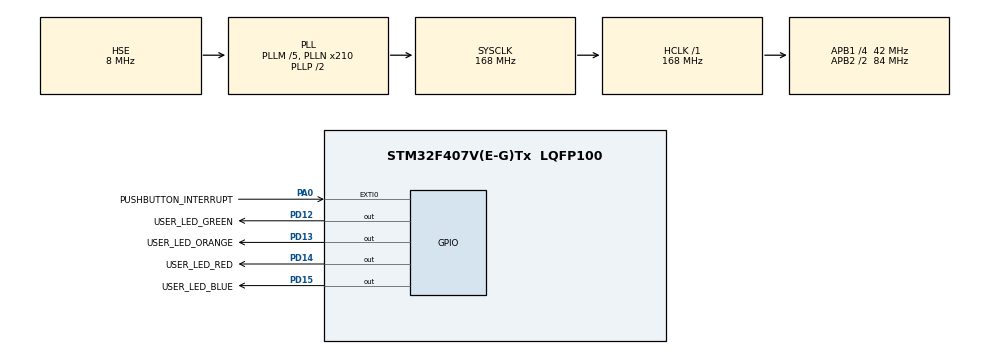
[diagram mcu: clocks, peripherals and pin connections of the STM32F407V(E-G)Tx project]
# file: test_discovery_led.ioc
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Mcu.Family=STM32F4
Mcu.Name=STM32F407V(E-G)Tx
Mcu.Package=LQFP100
NVIC.EXTI0_IRQn=true\:1\:0\:true\:true\:true\:1
NVIC.PriorityGroup=NVIC_PRIORITYGROUP_4
NVIC.TIM8_TRG_COM_TIM14_IRQn=true\:0\:0\:false\:false\:true
PA0-WKUP.GPIO_Label=PUSHBUTTON_INTERRUPT
PA0-WKUP.Signal=GPXTI0
PA13.Mode=Serial_Wire
PA13.Signal=SYS_JTMS-SWDIO
PA14.Mode=Serial_Wire
PA14.Signal=SYS_JTCK-SWCLK
PD12.GPIO_Label=USER_LED_GREEN
PD12.GPIO_PuPd=GPIO_PULLUP
PD12.GPIO_Speed=GPIO_SPEED_FREQ_HIGH
PD12.PinState=GPIO_PIN_SET
PD12.Signal=GPIO_Output
PD13.GPIO_Label=USER_LED_ORANGE
PD13.GPIO_PuPd=GPIO_PULLUP
PD13.GPIO_Speed=GPIO_SPEED_FREQ_HIGH
PD13.PinState=GPIO_PIN_SET
PD13.Signal=GPIO_Output
PD14.GPIO_Label=USER_LED_RED
PD14.GPIO_PuPd=GPIO_PULLUP
PD14.GPIO_Speed=GPIO_SPEED_FREQ_HIGH
PD14.PinState=GPIO_PIN_SET
PD14.Signal=GPIO_Output
PD15.GPIO_Label=USER_LED_BLUE
PD15.GPIO_PuPd=GPIO_PULLUP
PD15.GPIO_Speed=GPIO_SPEED_FREQ_HIGH
PD15.PinState=GPIO_PIN_SET
PD15.Signal=GPIO_Output
PH0-OSC_IN.Mode=HSE-External-Oscillator
PH0-OSC_IN.Signal=RCC_OSC_IN
PH1-OSC_OUT.Mode=HSE-External-Oscillator
PH1-OSC_OUT.Signal=RCC_OSC_OUT
ProjectManager.HeapSize=0x200
ProjectManager.StackSize=0x400
ProjectManager.TargetToolchain=SW4STM32
RCC.48MHZClocksFreq_Value=84000000
RCC.AHBFreq_Value=168000000
RCC.APB1CLKDivider=RCC_HCLK_DIV4
RCC.APB1Freq_Value=42000000
RCC.APB1TimFreq_Value=84000000
RCC.APB2CLKDivider=RCC_HCLK_DIV2
RCC.APB2Freq_Value=84000000
RCC.APB2TimFreq_Value=168000000
RCC.CortexFreq_Value=168000000
RCC.HCLKFreq_Value=168000000
RCC.HSE_VALUE=8000000
RCC.HSI_VALUE=16000000
RCC.LSE_VALUE=32768
RCC.PLLM=5
RCC.PLLN=210
RCC.PLLSourceVirtual=RCC_PLLSOURCE_HSE
RCC.SYSCLKFreq_VALUE=168000000
RCC.SYSCLKSource=RCC_SYSCLKSOURCE_PLLCLK
RCC.VCOOutputFreq_Value=336000000
TIM14.Period=1000
TIM14.Prescaler=8000
VP_TIM14_VS_ClockSourceINT.Mode=Enable_Timer
board=test_discovery_led

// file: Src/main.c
/**
  ******************************************************************************
  * File Name          : main.c
  * Description        : Main program body
  ******************************************************************************
  *
  * COPYRIGHT(c) 2017 STMicroelectronics
  *
  * Redistribution and use in source and binary forms, with or without modification,
  * are permitted provided that the following conditions are met:
  *   1. Redistributions of source code must retain the above copyright notice,
  *      this list of conditions and the following disclaimer.
  *   2. Redistributions in binary form must reproduce the above copyright notice,
  *      this list of conditions and the following disclaimer in the documentation
  *      and/or other materials provided with the distribution.
  *   3. Neither the name of STMicroelectronics nor the names of its contributors
  *      may be used to endorse or promote products derived from this software
  *      without specific prior written permission.
  *
  * THIS SOFTWARE IS PROVIDED BY THE COPYRIGHT HOLDERS AND CONTRIBUTORS "AS IS"
  * AND ANY EXPRESS OR IMPLIED WARRANTIES, INCLUDING, BUT NOT LIMITED TO, THE
  * IMPLIED WARRANTIES OF MERCHANTABILITY AND FITNESS FOR A PARTICULAR PURPOSE ARE
  * DISCLAIMED. IN NO EVENT SHALL THE COPYRIGHT HOLDER OR CONTRIBUTORS BE LIABLE
  * FOR ANY DIRECT, INDIRECT, INCIDENTAL, SPECIAL, EXEMPLARY, OR CONSEQUENTIAL
  * DAMAGES (INCLUDING, BUT NOT LIMITED TO, PROCUREMENT OF SUBSTITUTE GOODS OR
  * SERVICES; LOSS OF USE, DATA, OR PROFITS; OR BUSINESS INTERRUPTION) HOWEVER
  * CAUSED AND ON ANY THEORY OF LIABILITY, WHETHER IN CONTRACT, STRICT LIABILITY,
  * OR TORT (INCLUDING NEGLIGENCE OR OTHERWISE) ARISING IN ANY WAY OUT OF THE USE
  * OF THIS SOFTWARE, EVEN IF ADVISED OF THE POSSIBILITY OF SUCH DAMAGE.
  *
  ******************************************************************************
  */
#include "main.h"
#include "functions.h"
#include "states.h"

#include "stm32f4xx_hal.h"
#include "gpio.h"
#include "tim.h"

#include "stdint.h"
#include "math.h"

/* USER CODE BEGIN Includes */
#define USER_STRANGE_STATUS 2
#define USER_TRUE 1
#define USER_FALSE 0
/* USER CODE END Includes */

/* USER CODE BEGIN PV */
/* Private variables ---------------------------------------------------------*/
/*variabile che verrа utilizzata per immagazzinare l'informazione sul pushbutton*/
uint8_t USER_PUSH = 0;
uint8_t ELAPSED_TIME_PUSH = 0;
uint8_t tick_counter;
uint16_t divider;

enum states current_state;
enum states new_state;
enum guards current_guard;
enum events current_signal;

/* USER CODE END PV */

void SystemClock_Config(void);
void Error_Handler(void);
static void MX_NVIC_Init(void);

/* USER CODE BEGIN PFP */
/* Private function prototypes -----------------------------------------------*/

/* USER CODE END PFP */

int main(void)
{

  /* MCU Configuration----------------------------------------------------------*/

  /* Reset of all peripherals, Initializes the Flash interface and the Systick. */
  HAL_Init();

  /* Configure the system clock */
  SystemClock_Config();

  /* Initialize all configured peripherals */
  MX_GPIO_Init();
  MX_TIM14_Init();

  /* Initialize interrupts */
  MX_NVIC_Init();

  /* USER CODE BEGIN 2 */
  /* Initialize of FSM signal, state and guards*/
  current_signal = PERIPH_ALIVE;
  current_state = START_MCH;
  tick_counter = 0;
  divider = 0;
  current_guard = NOT_BUSY;

  HAL_GPIO_WritePin(USER_LED_GREEN_GPIO_Port , USER_LED_GREEN_Pin | USER_LED_BLUE_Pin | USER_LED_RED_Pin | USER_LED_ORANGE_Pin, GPIO_PIN_RESET);
  HAL_TIM_Base_Start_IT(&htim14);

  /* USER CODE END 2 */

  /* Infinite loop */
  while (1)
  {

  /* USER CODE BEGIN 3 */

	  /* utilizzo il led blu e verde per interrupt create dall'utente,
	   * utilizzo il led arancio e rosso per interrupt create dal timer
	   */

//	   if(ELAPSED_TIME_PUSH==USER_TRUE){
//		  HAL_Delay(500);
//
//		  HAL_GPIO_TogglePin(USER_LED_BLUE_GPIO_Port , USER_LED_RED_Pin);
//
//	  }else if(ELAPSED_TIME_PUSH==USER_FALSE){
//
//		  HAL_Delay(500);
//		  HAL_GPIO_TogglePin(USER_LED_BLUE_GPIO_Port , USER_LED_ORANGE_Pin);
//
//	  }
	  if(ELAPSED_TIME_PUSH==USER_TRUE){
		  ELAPSED_TIME_PUSH = USER_FALSE;
		  new_state = StateMachine(current_signal,current_guard,current_state);
		  current_state = new_state;

	  }

  }
  /* USER CODE END 3 */

}

/** System Clock Configuration
*/
void SystemClock_Config(void)
{

  RCC_OscInitTypeDef RCC_OscInitStruct;
  RCC_ClkInitTypeDef RCC_ClkInitStruct;

    /**Configure the main internal regulator output voltage
    */
  __HAL_RCC_PWR_CLK_ENABLE();

  __HAL_PWR_VOLTAGESCALING_CONFIG(PWR_REGULATOR_VOLTAGE_SCALE1);

    /**Initializes the CPU, AHB and APB busses clocks
    */
  RCC_OscInitStruct.OscillatorType = RCC_OSCILLATORTYPE_HSE;
  RCC_OscInitStruct.HSEState = RCC_HSE_ON;
  RCC_OscInitStruct.PLL.PLLState = RCC_PLL_ON;
  RCC_OscInitStruct.PLL.PLLSource = RCC_PLLSOURCE_HSE;
  RCC_OscInitStruct.PLL.PLLM = 5;
  RCC_OscInitStruct.PLL.PLLN = 210;
  RCC_OscInitStruct.PLL.PLLP = RCC_PLLP_DIV2;
  RCC_OscInitStruct.PLL.PLLQ = 4;
  if (HAL_RCC_OscConfig(&RCC_OscInitStruct) != HAL_OK)
  {
    Error_Handler();
  }

    /**Initializes the CPU, AHB and APB busses clocks
    */
  RCC_ClkInitStruct.ClockType = RCC_CLOCKTYPE_HCLK|RCC_CLOCKTYPE_SYSCLK
                              |RCC_CLOCKTYPE_PCLK1|RCC_CLOCKTYPE_PCLK2;
  RCC_ClkInitStruct.SYSCLKSource = RCC_SYSCLKSOURCE_PLLCLK;
  RCC_ClkInitStruct.AHBCLKDivider = RCC_SYSCLK_DIV1;
  RCC_ClkInitStruct.APB1CLKDivider = RCC_HCLK_DIV4;
  RCC_ClkInitStruct.APB2CLKDivider = RCC_HCLK_DIV2;

  if (HAL_RCC_ClockConfig(&RCC_ClkInitStruct, FLASH_LATENCY_5) != HAL_OK)
  {
    Error_Handler();
  }

    /**Configure the Systick interrupt time
    */
  HAL_SYSTICK_Config(HAL_RCC_GetHCLKFreq()/1000);

    /**Configure the Systick
    */
  HAL_SYSTICK_CLKSourceConfig(SYSTICK_CLKSOURCE_HCLK);

  /* SysTick_IRQn interrupt configuration */
  HAL_NVIC_SetPriority(SysTick_IRQn, 0, 0);
}

/** NVIC Configuration
*/
static void MX_NVIC_Init(void)
{
  /* EXTI0_IRQn interrupt configuration */
  HAL_NVIC_SetPriority(EXTI0_IRQn, 1, 0);
  HAL_NVIC_EnableIRQ(EXTI0_IRQn);
}

/* USER CODE BEGIN 4 */
void HAL_GPIO_EXTI_Callback(uint16_t GPIO_Pin){
	/*implementazione della callback dello user button sulla discovery */
//	if(USER_PUSH==USER_FALSE){
//		USER_PUSH=USER_TRUE;
//		HAL_GPIO_WritePin(USER_LED_GREEN_GPIO_Port , USER_LED_GREEN_Pin | USER_LED_BLUE_Pin , GPIO_PIN_RESET);
//
//		HAL_GPIO_TogglePin(USER_LED_GREEN_GPIO_Port , USER_LED_GREEN_Pin);
//	}else if (USER_PUSH==USER_TRUE){
//		USER_PUSH=USER_FALSE;
//		HAL_GPIO_WritePin(USER_LED_GREEN_GPIO_Port , USER_LED_GREEN_Pin | USER_LED_BLUE_Pin , GPIO_PIN_RESET);
//
//		HAL_GPIO_TogglePin(USER_LED_GREEN_GPIO_Port , USER_LED_BLUE_Pin);
//	}
//	else USER_PUSH = USER_STRANGE_STATUS;

	/*
	 * IMPLEMENTAZIONE DI UN SEMPLICE TEST PER LA MACCHINA A STATI
	 */

	//CONTATORE DEI TICK PER GENERARE DEGLI EVENTI FASULLI

}

void HAL_TIM_PeriodElapsedCallback(TIM_HandleTypeDef *htim){

	/*implementazione della callback del counting time del timer scaduto*/
//	if(ELAPSED_TIME_PUSH==USER_FALSE){
//		ELAPSED_TIME_PUSH=USER_TRUE;
//		HAL_GPIO_WritePin(USER_LED_GREEN_GPIO_Port , USER_LED_RED_Pin | USER_LED_ORANGE_Pin, GPIO_PIN_RESET);
//
//		HAL_GPIO_TogglePin(USER_LED_GREEN_GPIO_Port , USER_LED_RED_Pin);
//	}else if (ELAPSED_TIME_PUSH==USER_TRUE){
//		ELAPSED_TIME_PUSH=USER_FALSE;
//		HAL_GPIO_WritePin(USER_LED_GREEN_GPIO_Port ,  USER_LED_RED_Pin | USER_LED_ORANGE_Pin, GPIO_PIN_RESET);
//
//		HAL_GPIO_TogglePin(USER_LED_GREEN_GPIO_Port , USER_LED_ORANGE_Pin);
//	}
//	else ELAPSED_TIME_PUSH = USER_STRANGE_STATUS;
	if(divider<10){
		//ELAPSED_TIME_PUSH = USER_FALSE;
		divider++;
	}else {
		ELAPSED_TIME_PUSH = USER_TRUE;
	}
}
/* USER CODE END 4 */

void Error_Handler(void)
{
  while(1)
  {
  }
}

/************************ (C) COPYRIGHT STMicroelectronics *****END OF FILE****/
